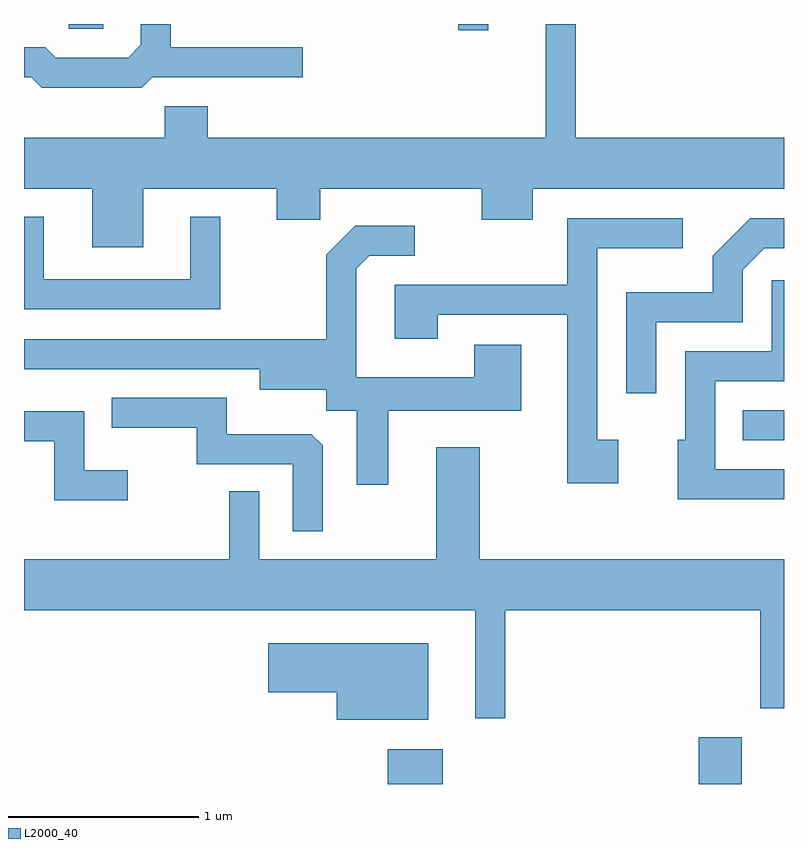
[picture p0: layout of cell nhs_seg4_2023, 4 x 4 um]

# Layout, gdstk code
import gdstk
lib = gdstk.Library(unit=1e-6, precision=1e-09)
def R(c, l, rs):  # rectangles x0, y0, x1, y1
    for r in rs: c.add(gdstk.rectangle(r[:2], r[2:], *l))
def P(c, l, *ps):  # polygons
    for p in ps: c.add(gdstk.Polygon(p, *l))
L2000_40 = (2000, 40)

nhs_seg4_2023 = lib.new_cell('nhs_seg4_2023')
R(nhs_seg4_2023, L2000_40, [(245.526,1355.982,245.814,1356.164), (247.161,1355.982,247.389,1356.229), (247.393,1357.791,247.611,1357.949), (245.896,1359.948,246.054,1359.982), (243.846,1359.956,244.029,1359.982)])
P(nhs_seg4_2023, L2000_40, [(244.287,1359.701),(245.078,1359.701),(245.078,1359.859),(244.384,1359.859),(244.384,1359.982),(244.226,1359.982),(244.226,1359.872),(244.159,1359.804),(243.777,1359.804),(243.722,1359.859),(243.611,1359.859),(243.611,1359.701),(243.649,1359.701),(243.704,1359.646),(244.232,1359.646)],
  [(244.239,1359.116),(244.941,1359.116),(244.941,1358.951),(245.169,1358.951),(245.169,1359.116),(246.021,1359.116),(246.021,1358.951),(246.289,1358.951),(246.289,1359.116),(247.611,1359.116),(247.611,1359.384),(246.514,1359.384),(246.514,1359.982),(246.356,1359.982),(246.356,1359.384),(244.579,1359.384),(244.579,1359.549),(244.351,1359.549),(244.351,1359.384),(243.611,1359.384),(243.611,1359.116),(243.971,1359.116),(243.971,1358.806),(244.239,1358.806)],
  [(244.644,1358.968),(244.486,1358.968),(244.486,1358.639),(243.714,1358.639),(243.714,1358.968),(243.611,1358.968),(243.611,1358.481),(244.644,1358.481)],
  [(246.939,1358.411),(247.394,1358.411),(247.394,1358.689),(247.507,1358.801),(247.611,1358.801),(247.611,1358.959),(247.434,1358.959),(247.236,1358.762),(247.236,1358.569),(246.781,1358.569),(246.781,1358.038),(246.939,1358.038)],
  [(246.739,1357.794),(246.629,1357.794),(246.629,1358.801),(247.078,1358.801),(247.078,1358.959),(246.471,1358.959),(246.471,1358.609),(245.561,1358.609),(245.561,1358.326),(245.789,1358.326),(245.789,1358.451),(246.471,1358.451),(246.471,1357.566),(246.739,1357.566)],
  [(245.529,1357.946),(246.229,1357.946),(246.229,1358.294),(245.981,1358.294),(245.981,1358.124),(245.359,1358.124),(245.359,1358.694),(245.427,1358.761),(245.668,1358.761),(245.668,1358.919),(245.354,1358.919),(245.201,1358.767),(245.201,1358.324),(243.611,1358.324),(243.611,1358.166),(244.851,1358.166),(244.851,1358.056),(245.201,1358.056),(245.201,1357.946),(245.361,1357.946),(245.361,1357.558),(245.529,1357.558)],
  [(247.611,1357.639),(247.249,1357.639),(247.249,1358.101),(247.611,1358.101),(247.611,1358.633),(247.546,1358.633),(247.546,1358.259),(247.091,1358.259),(247.091,1357.794),(247.051,1357.794),(247.051,1357.481),(247.611,1357.481)],
  [(245.184,1357.764),(245.124,1357.824),(244.679,1357.824),(244.679,1358.014),(244.073,1358.014),(244.073,1357.856),(244.521,1357.856),(244.521,1357.666),(245.026,1357.666),(245.026,1357.313),(245.184,1357.313)],
  [(244.158,1357.634),(243.929,1357.634),(243.929,1357.944),(243.611,1357.944),(243.611,1357.786),(243.771,1357.786),(243.771,1357.476),(244.158,1357.476)],
  [(246.144,1356.896),(247.486,1356.896),(247.486,1356.381),(247.611,1356.381),(247.611,1357.164),(246.009,1357.164),(246.009,1357.754),(245.781,1357.754),(245.781,1357.164),(244.849,1357.164),(244.849,1357.523),(244.691,1357.523),(244.691,1357.164),(243.611,1357.164),(243.611,1356.896),(245.986,1356.896),(245.986,1356.328),(246.144,1356.328)],
  [(245.739,1356.724),(244.896,1356.724),(244.896,1356.466),(245.256,1356.466),(245.256,1356.321),(245.739,1356.321)])

lib.write_gds('nhs_seg4_2023.gds')
